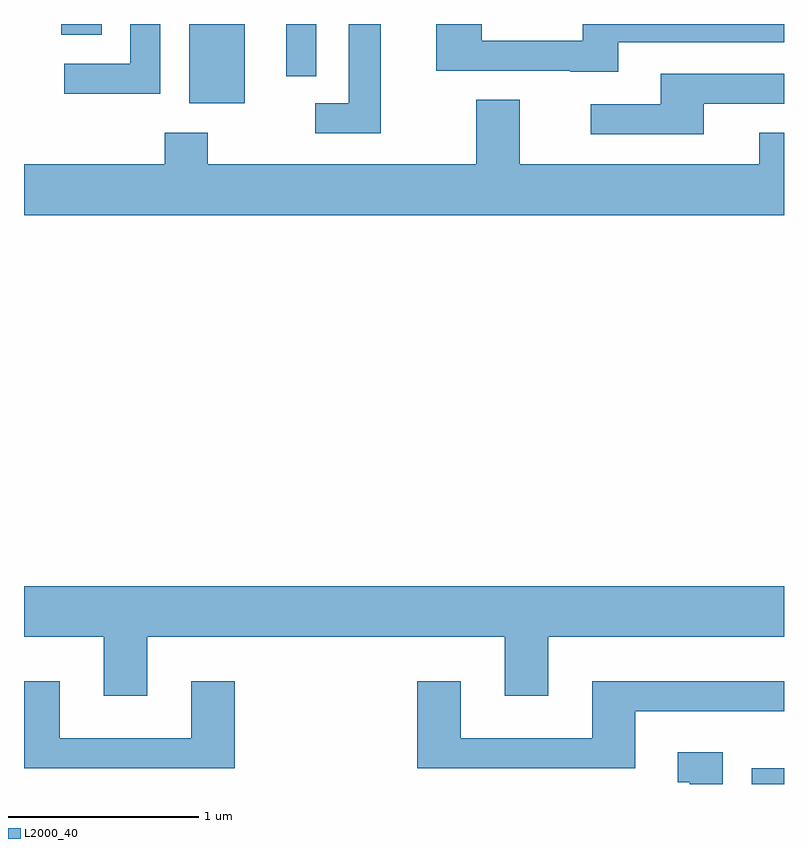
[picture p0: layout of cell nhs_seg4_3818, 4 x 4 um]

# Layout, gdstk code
import gdstk
lib = gdstk.Library(unit=1e-6, precision=1e-09)
def R(c, l, rs):  # rectangles x0, y0, x1, y1
    for r in rs: c.add(gdstk.rectangle(r[:2], r[2:], *l))
def P(c, l, *ps):  # polygons
    for p in ps: c.add(gdstk.Polygon(p, *l))
L2000_40 = (2000, 40)

nhs_seg4_3818 = lib.new_cell('nhs_seg4_3818')
R(nhs_seg4_3818, L2000_40, [(301.441,1273.982,301.611,1274.064), (298.481,1277.566,298.774,1277.982), (298.991,1277.708,299.149,1277.982), (297.806,1277.926,298.019,1277.982)])
P(nhs_seg4_3818, L2000_40, [(298.329,1277.982),(298.171,1277.982),(298.171,1277.774),(297.823,1277.774),(297.823,1277.616),(298.329,1277.616)],
  [(300.739,1277.886),(301.611,1277.886),(301.611,1277.982),(300.551,1277.982),(300.551,1277.894),(300.019,1277.894),(300.019,1277.982),(299.781,1277.982),(299.781,1277.736),(300.485,1277.736),(300.485,1277.731),(300.739,1277.731)],
  [(299.489,1277.982),(299.321,1277.982),(299.321,1277.564),(299.143,1277.564),(299.143,1277.406),(299.489,1277.406)],
  [(301.189,1277.561),(301.611,1277.561),(301.611,1277.719),(300.961,1277.719),(300.961,1277.559),(300.593,1277.559),(300.593,1277.401),(301.189,1277.401)],
  [(301.611,1277.409),(301.481,1277.409),(301.481,1277.244),(300.219,1277.244),(300.219,1277.584),(299.991,1277.584),(299.991,1277.244),(298.579,1277.244),(298.579,1277.409),(298.351,1277.409),(298.351,1277.244),(297.611,1277.244),(297.611,1276.976),(301.611,1276.976)],
  [(298.259,1274.756),(300.141,1274.756),(300.141,1274.446),(300.369,1274.446),(300.369,1274.756),(301.611,1274.756),(301.611,1275.024),(297.611,1275.024),(297.611,1274.756),(298.031,1274.756),(298.031,1274.446),(298.259,1274.446)],
  [(298.719,1274.524),(298.491,1274.524),(298.491,1274.224),(297.799,1274.224),(297.799,1274.524),(297.611,1274.524),(297.611,1274.066),(298.719,1274.066)],
  [(300.829,1274.366),(301.611,1274.366),(301.611,1274.524),(300.601,1274.524),(300.601,1274.224),(299.909,1274.224),(299.909,1274.524),(299.681,1274.524),(299.681,1274.066),(300.829,1274.066)],
  [(301.289,1274.149),(301.053,1274.149),(301.053,1273.991),(301.116,1273.991),(301.116,1273.982),(301.289,1273.982)])

lib.write_gds('nhs_seg4_3818.gds')
